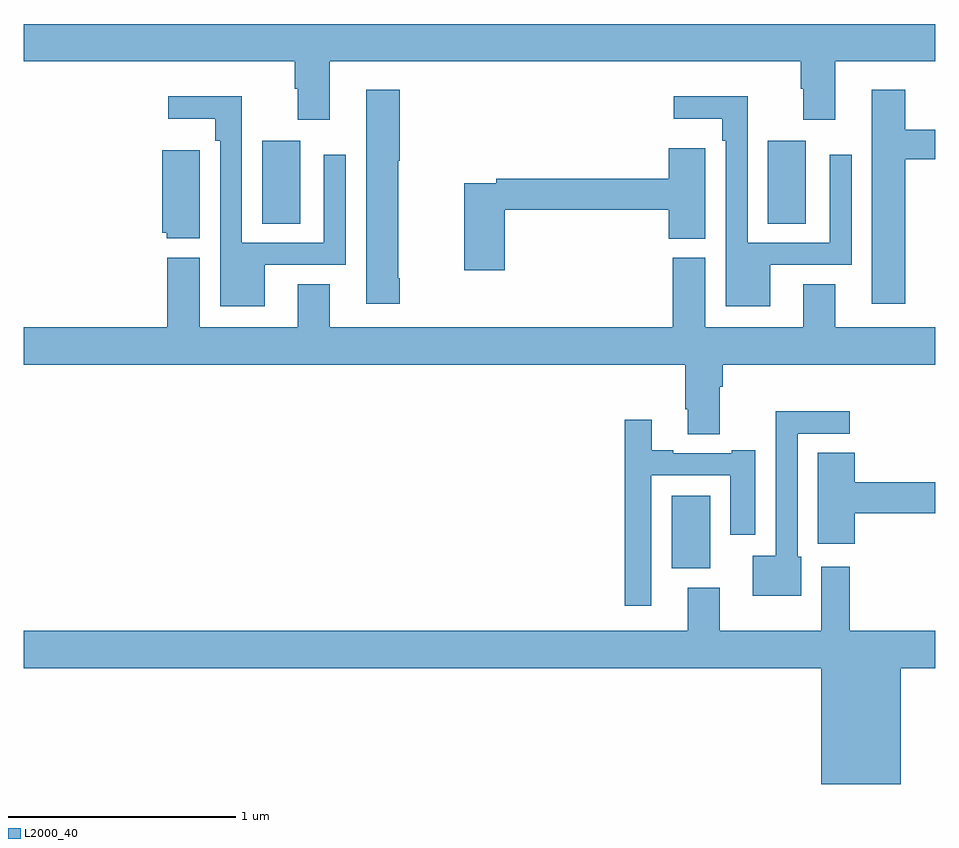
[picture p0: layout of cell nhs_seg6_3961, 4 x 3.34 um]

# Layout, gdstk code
import gdstk
lib = gdstk.Library(unit=1e-6, precision=1e-09)
def R(c, l, rs):  # rectangles x0, y0, x1, y1
    for r in rs: c.add(gdstk.rectangle(r[:2], r[2:], *l))
def P(c, l, *ps):  # polygons
    for p in ps: c.add(gdstk.Polygon(p, *l))
L2000_40 = (2000, 40)

nhs_seg6_3961 = lib.new_cell('nhs_seg6_3961')
R(nhs_seg6_3961, L2000_40, [(347.843,942.446,348.013,942.766), (346.046,943.96,346.213,944.323), (348.266,943.96,348.433,944.323)])
P(nhs_seg6_3961, L2000_40, [(346.342,944.672),(348.41,944.672),(348.41,944.552),(348.422,944.552),(348.422,944.415),(348.562,944.415),(348.562,944.672),(349,944.672),(349,944.836),(345,944.836),(345,944.672),(346.19,944.672),(346.19,944.552),(346.202,944.552),(346.202,944.415),(346.342,944.415)],
  [(346.649,943.72),(346.644,943.72),(346.644,944.235),(346.649,944.235),(346.649,944.548),(346.502,944.548),(346.502,943.608),(346.649,943.608)],
  [(348.869,944.242),(349,944.242),(349,944.371),(348.869,944.371),(348.869,944.548),(348.722,944.548),(348.722,943.608),(348.869,943.608)],
  [(346.057,943.779),(346.413,943.779),(346.413,944.263),(346.317,944.263),(346.317,943.875),(345.957,943.875),(345.957,944.518),(345.633,944.518),(345.633,944.42),(345.841,944.42),(345.841,944.324),(345.861,944.324),(345.861,943.598),(346.057,943.598)],
  [(348.277,943.779),(348.633,943.779),(348.633,944.263),(348.537,944.263),(348.537,943.875),(348.177,943.875),(348.177,944.518),(347.853,944.518),(347.853,944.42),(348.065,944.42),(348.065,944.324),(348.081,944.324),(348.081,943.598),(348.277,943.598)],
  [(347.111,944.02),(347.831,944.02),(347.831,943.894),(347.992,943.894),(347.992,944.177),(347.991,944.177),(347.991,944.29),(347.831,944.29),(347.831,944.156),(347.074,944.156),(347.074,944.136),(346.933,944.136),(346.933,943.755),(347.111,943.755)],
  [(345.772,944.281),(345.608,944.281),(345.608,943.92),(345.627,943.92),(345.627,943.895),(345.772,943.895)],
  [(348.055,943.244),(348.068,943.244),(348.068,943.34),(349,943.34),(349,943.504),(348.562,943.504),(348.562,943.694),(348.422,943.694),(348.422,943.504),(347.992,943.504),(347.992,943.809),(347.849,943.809),(347.849,943.504),(346.342,943.504),(346.342,943.694),(346.202,943.694),(346.202,943.504),(345.772,943.504),(345.772,943.81),(345.629,943.81),(345.629,943.504),(345,943.504),(345,943.34),(347.903,943.34),(347.903,943.144),(347.915,943.144),(347.915,943.036),(348.055,943.036)],
  [(348.412,942.498),(348.396,942.498),(348.396,943.038),(348.625,943.038),(348.625,943.136),(348.3,943.136),(348.3,942.502),(348.2,942.502),(348.2,942.326),(348.412,942.326)],
  [(347.754,942.855),(348.101,942.855),(348.101,942.594),(348.211,942.594),(348.211,942.964),(348.107,942.964),(348.107,942.951),(347.851,942.951),(347.851,942.964),(347.755,942.964),(347.755,943.099),(347.638,943.099),(347.638,942.282),(347.754,942.282)],
  [(348.647,942.688),(349,942.688),(349,942.824),(348.647,942.824),(348.647,942.953),(348.485,942.953),(348.485,942.555),(348.647,942.555)],
  [(348.85,942.008),(349,942.008),(349,942.172),(348.626,942.172),(348.626,942.454),(348.5,942.454),(348.5,942.172),(348.055,942.172),(348.055,942.361),(347.915,942.361),(347.915,942.172),(345,942.172),(345,942.008),(348.5,942.008),(348.5,941.5),(348.85,941.5)])

lib.write_gds('nhs_seg6_3961.gds')
